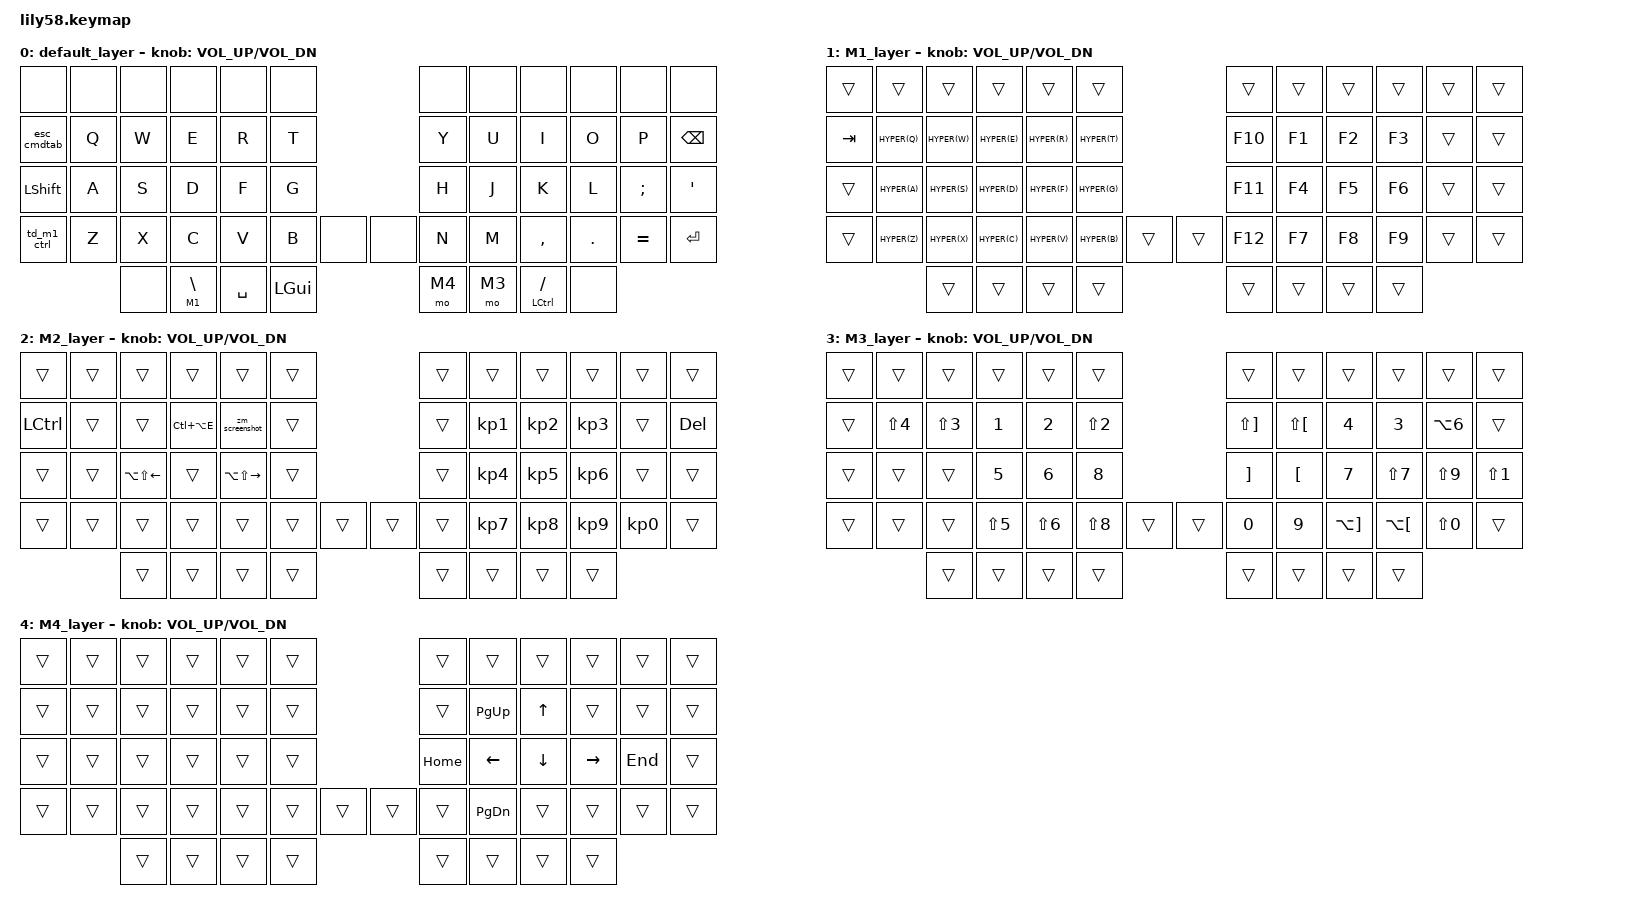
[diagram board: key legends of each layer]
#include <behaviors.dtsi>
#include <dt-bindings/zmk/keys.h>
#include <dt-bindings/zmk/bt.h>
#include <dt-bindings/zmk/ext_power.h>
#include <dt-bindings/zmk/outputs.h>

// timeout for tap-dance
#define TD_TIMEOUT         150
#define TD_TIMEOUT_LONG    500

#define BASE 0
#define M1   1
#define M2   2
#define M3   3
#define M4   4

#define EXPAND      LC(LA(E))     // expand window
#define GO_DSK_1    LC(N1)        // show desktop 1
#define MV_DKS_1    LC(LS(N1))    // move window to desktop 1
#define GO_DSK_2    LC(N2)        // show desktop 2
#define MV_DKS_2    LC(LS(N2))    // move window to desktop 2
#define GO_DSK_3    LC(N3)        // show desktop 3
#define MV_DKS_3    LC(LS(N3))    // move window to desktop 3
#define SCREENSH    LG(LS(N4))    // macos screenshot tool (area)

#define HALF_LEFT   LA(LS(LEFT))  // move window left half
#define HALF_RIGHT  LA(LS(RIGHT)) // move window right half

#define DEL_WORD    LA(BSPC)      // delete word back

#define SQUOTE      N1            // remaped '
#define DQUOTE      N2            // remaped "
#define MY_QMARK    N3            // remaped ?
#define MY_EXMARK   N4            // remaped !
#define MY_DOT      N5            // remaped .
#define MY_COM      N6            // remaped ,
#define MY_PLS      N7            // remaped +
#define MY_MIN      N8            // remaped -
#define MY_LBRKT    N9            // remaped (
#define MY_RBRKT    N0            // remaped )
#define MY_PRC      LS(N1)        // remaped %
#define MY_AT       LS(N2)        // remaped @
#define MY_HASH     LS(N3)        // remaped #
#define MY_DOLL     LS(N4)        // remaped $
#define MY_SMCOL    LS(N5)        // remaped ;
#define MY_COLON    LS(N6)        // remaped :
#define MY_ASTER    LS(N7)        // remaped *
#define MY_UNDER    LS(N8)        // remaped _
#define MY_EQUAL    LS(N9)        // remaped =
#define MY_BSLH     LS(N0)        // remaped backslash

#define CIR_FLEX    LA(N6)        // remaped ^

#define MY_LCURL    LS(LBKT)      // remaped {
#define MY_RCURL    LS(RBKT)      // remaped }
#define MY_LSQBR    LBKT          // remaped [
#define MY_RSQBR    RBKT          // remaped ]
#define MY_LANBR    LA(LBKT)      // remaped <
#define MY_RANBR    LA(RBKT)      // remaped >

#define HYPER(key) LC(LS(LA(LG(key))))
#define HYP_ESC    HYPER(ESC)
#define HYP_Q      HYPER(Q)
#define HYP_W      HYPER(W)
#define HYP_E      HYPER(E)
#define HYP_R      HYPER(R)
#define HYP_T      HYPER(T)
#define HYP_A      HYPER(A)
#define HYP_S      HYPER(S)
#define HYP_D      HYPER(D)
#define HYP_F      HYPER(F)
#define HYP_G      HYPER(G)
#define HYP_Z      HYPER(Z)
#define HYP_X      HYPER(X)
#define HYP_C      HYPER(C)
#define HYP_V      HYPER(V)
#define HYP_B      HYPER(B)

/ {
    behaviors {
        esc_cmdtab: esc_cmdtab {
            compatible = "zmk,behavior-mod-morph";
            label = "esc_cmdtab";
            #binding-cells = <0>;
            bindings = <&mt LALT ESC>, <&kp TAB>;
            mods = <(MOD_LGUI)>;
            keep-mods = <(MOD_LGUI)>;
        };
    };

    macros {
        zm_screenshot: zm_screenshot {
            label = "zm_screenshot";
            compatible = "zmk,behavior-macro";
            #binding-cells = <0>;
            bindings
                = <&macro_press &kp LGUI &kp LSHIFT>
                , <&macro_tap &kp N4>
                , <&macro_release &kp LGUI &kp LSHIFT>
                ;
        };
    };
    behaviors {
        td_m1_ctrl: td_m1_ctrl {
            compatible = "zmk,behavior-tap-dance";
            label = "td_m1_ctrl";
            #binding-cells = <0>;
            tapping-term-ms = <TD_TIMEOUT_LONG>;
            bindings = <&mo M2>, <&kp LCTRL>;
        };
        td_dsk_1: td_dsk_1 {
            compatible = "zmk,behavior-tap-dance";
            label = "td_dsk_1";
            #binding-cells = <0>;
            tapping-term-ms = <TD_TIMEOUT>;
            bindings = <&kp GO_DSK_1>, <&kp MV_DKS_1>;
        };
        td_dsk_2: td_dsk_2 {
            compatible = "zmk,behavior-tap-dance";
            label = "td_dsk_2";
            #binding-cells = <0>;
            tapping-term-ms = <TD_TIMEOUT>;
            bindings = <&kp GO_DSK_2>, <&kp MV_DKS_2>;
        };
        td_dsk_3: td_dsk_3 {
            compatible = "zmk,behavior-tap-dance";
            label = "td_dsk_3";
            #binding-cells = <0>;
            tapping-term-ms = <TD_TIMEOUT>;
            bindings = <&kp GO_DSK_3>, <&kp MV_DKS_3>;
        };
    };
    combos {
        compatible = "zmk,combos";

        // BT combos
        combo_bt_sel_0 {
            timeout-ms = <50>;
            key-positions = <37 53>; // Lower + 6
            bindings = <&bt BT_SEL 0>;
        };
        combo_bt_sel_1 {
            timeout-ms = <50>;
            key-positions = <38 53>; // Lower + 7
            bindings = <&bt BT_SEL 1>;
        };
        combo_bt_clr {
            timeout-ms = <50>;
            key-positions = <51 53>; // Lower + LGUI
            bindings = <&bt BT_CLR>;
        };

        // Layers toggle 
        combo_base_right {
            timeout-ms = <150>;
            key-positions = <11 54>;
            bindings = <&to BASE>;
        };
        combo_base_left {
            timeout-ms = <150>;
            key-positions = <53 0>;
            bindings = <&to BASE>;
        };

        // CAPS
        combo_caps {
            timeout-ms = <150>;
            key-positions = <24 53>;
            bindings = <&kp CAPS>;
        };
    };

    keymap {
        compatible = "zmk,keymap";

        default_layer {
            // +---------------------------------------------------------------------------------------------------------------------------------------------------------+
            // |          |          |          |          |          |          |                        |          |          |          |          |          |       |
            // |          |          |          |          |          |          |                        |          |          |          |          |          |       |
            // |          |          |          |          |          |          |                        |          |          |          |          |          |       |
            // |          |          |          |          |          |          |          |  |          |          |          |          |          |          |       |
            //                                  |          |          |          |          |  |          |          |          |          |
            bindings = <
                &none         &none   &none  &none        &none           &none                            &none          &none            &none           &none      &none          &none
                &esc_cmdtab   &kp Q   &kp W  &kp E        &kp R           &kp T                            &kp Y          &kp U            &kp I           &kp O      &kp P          &kp BSPC
                &kp LSHFT     &kp A   &kp S  &kp D        &kp F           &kp G                            &kp H          &kp J            &kp K           &kp L      &kp SEMI       &kp APOS
                &td_m1_ctrl   &kp Z   &kp X  &kp C        &kp V           &kp B      &none       &none     &kp N          &kp M            &kp COMMA       &kp DOT    &kp EQUAL      &kp ENTER
                                      &none  &lt M1 BSLH  &kp SPACE       &kp LGUI                         &mo M4         &mo M3           &mt LCTRL FSLH  &none
            >;

            sensor-bindings = <&inc_dec_kp C_VOL_UP C_VOL_DN>;
        };

        M1_layer { // RED
            // +------------------------------------------------------------------------------------------------------------------------------------------------------------+
            // |          |          |          |          |          |          |                        |          |          |          |          |          |          |
            // |          |          |          |          |          |          |                        |          |          |          |          |          |          |
            // |          |          |          |          |          |          |                        |          |          |          |          |          |          |
            // |          |          |          |          |          |          |          |  |          |          |          |          |          |          |          |
            //                                  |          |          |          |          |  |          |          |          |          |
            bindings = <
                &trans       &trans     &trans     &trans     &trans     &trans                         &trans   &trans  &trans    &trans  &trans    &trans
                &kp TAB      &kp HYP_Q  &kp HYP_W  &kp HYP_E  &kp HYP_R  &kp HYP_T                      &kp F10  &kp F1  &kp F2    &kp F3  &trans    &trans
                &trans       &kp HYP_A  &kp HYP_S  &kp HYP_D  &kp HYP_F  &kp HYP_G                      &kp F11  &kp F4  &kp F5    &kp F6  &trans    &trans
                &trans       &kp HYP_Z  &kp HYP_X  &kp HYP_C  &kp HYP_V  &kp HYP_B  &trans      &trans  &kp F12  &kp F7  &kp F8    &kp F9  &trans    &trans
                                        &trans     &trans     &trans     &trans                         &trans   &trans  &trans    &trans
            >;

            sensor-bindings = <&inc_dec_kp C_VOL_UP C_VOL_DN>;
        };

        M2_layer { // BLUE
            // +------------------------------------------------------------------------------------------------------------------------------------------------------------+
            // |          |          |          |          |          |          |                        |          |          |          |          |          |          |
            // |          |          |          |          |          |          |                        |          |          |          |          |          |          |
            // |          |          |          |          |          |          |                        |          |          |          |          |          |          |
            // |          |          |          |          |          |          |          |  |          |          |          |          |          |          |          |
            //                                  |          |          |          |          |  |          |          |          |          |
            bindings = <
                &trans     &trans  &trans         &trans      &trans          &trans                        &trans  &trans     &trans     &trans     &trans     &trans
                &kp LCTRL  &trans  &trans         &kp EXPAND  &zm_screenshot  &trans                        &trans  &kp KP_N1  &kp KP_N2  &kp KP_N3  &trans     &kp DEL
                &trans     &trans  &kp HALF_LEFT  &trans      &kp HALF_RIGHT  &trans                        &trans  &kp KP_N4  &kp KP_N5  &kp KP_N6  &trans     &trans
                &trans     &trans  &trans         &trans      &trans          &trans  &trans        &trans  &trans  &kp KP_N7  &kp KP_N8  &kp KP_N9  &kp KP_N0  &trans
                                   &trans         &trans      &trans          &trans                        &trans  &trans     &trans     &trans
            >;

            sensor-bindings = <&inc_dec_kp C_VOL_UP C_VOL_DN>;
        };

        M3_layer { // MINT
            // +------------------------------------------------------------------------------------------------------------------------------------------------------------+
            // |          |          |          |          |          |          |                        |          |          |          |          |          |          |
            // |          |          |          |          |          |          |                        |          |          |          |          |          |          |
            // |          |          |          |          |          |          |                        |          |          |          |          |          |          |
            // |          |          |          |          |          |          |          |  |          |          |          |          |          |          |          |
            //                                  |          |          |          |          |  |          |          |          |          |
            bindings = <
                &trans  &trans       &trans       &trans        &trans        &trans                              &trans        &trans        &trans         &trans        &trans        &trans
                &trans  &kp MY_DOLL  &kp MY_HASH  &kp SQUOTE    &kp DQUOTE    &kp MY_AT                           &kp MY_RCURL  &kp MY_LCURL  &kp MY_EXMARK  &kp MY_QMARK  &kp CIR_FLEX  &trans
                &trans  &trans       &trans       &kp MY_DOT    &kp MY_COM    &kp MY_MIN                          &kp MY_RSQBR  &kp MY_LSQBR  &kp MY_PLS     &kp MY_ASTER  &kp MY_EQUAL  &kp MY_PRC
                &trans  &trans       &trans       &kp MY_SMCOL  &kp MY_COLON  &kp MY_UNDER  &trans        &trans  &kp MY_RBRKT  &kp MY_LBRKT  &kp MY_RANBR   &kp MY_LANBR  &kp MY_BSLH   &trans
                                     &trans       &trans        &trans        &trans                              &trans        &trans        &trans         &trans
            >;

            sensor-bindings = <&inc_dec_kp C_VOL_UP C_VOL_DN>;
        };

        M4_layer { // GREEN
            // +---------------------------------------------------------------------------------------------------------------------------------------------------------+
            // |          |          |          |          |          |          |                        |          |          |          |          |          |       |
            // |          |          |          |          |          |          |                        |          |          |          |          |          |       |
            // |          |          |          |          |          |          |                        |          |          |          |          |          |       |
            // |          |          |          |          |          |          |          |  |          |          |          |          |          |          |       |
            //                                  |          |          |          |          |  |          |          |          |          |
            bindings = <
                &trans  &trans  &trans  &trans  &trans  &trans                        &trans        &trans      &trans     &trans     &trans     &trans
                &trans  &trans  &trans  &trans  &trans  &trans                        &trans        &kp PG_UP   &kp UP     &trans     &trans     &trans
                &trans  &trans  &trans  &trans  &trans  &trans                        &kp HOME      &kp LEFT    &kp DOWN   &kp RIGHT  &kp END    &trans
                &trans  &trans  &trans  &trans  &trans  &trans  &trans        &trans  &trans        &kp PG_DN   &trans     &trans     &trans     &trans
                                &trans  &trans  &trans  &trans                        &trans        &trans      &trans     &trans
            >;

            sensor-bindings = <&inc_dec_kp C_VOL_UP C_VOL_DN>;
        };
    };
};
